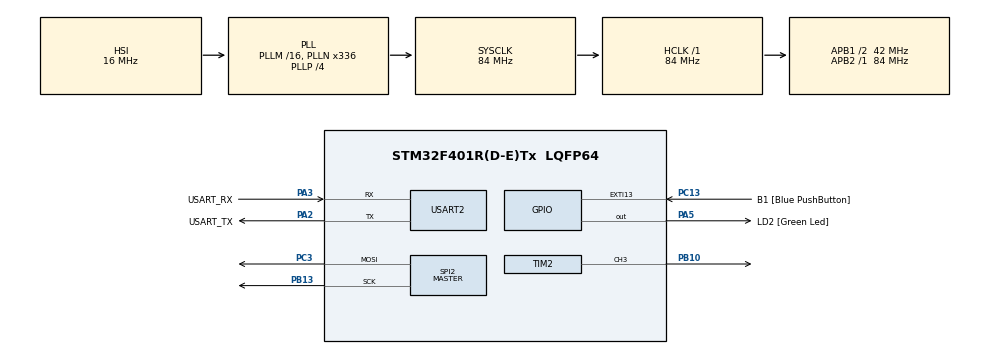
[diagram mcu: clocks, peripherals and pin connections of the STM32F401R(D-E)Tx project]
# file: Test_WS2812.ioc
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Dma.Request0=TIM2_CH3/UP
Dma.Request1=SPI2_TX
Dma.SPI2_TX.1.Direction=DMA_MEMORY_TO_PERIPH
Dma.SPI2_TX.1.FIFOMode=DMA_FIFOMODE_DISABLE
Dma.SPI2_TX.1.Instance=DMA1_Stream4
Dma.SPI2_TX.1.MemDataAlignment=DMA_MDATAALIGN_BYTE
Dma.SPI2_TX.1.MemInc=DMA_MINC_ENABLE
Dma.SPI2_TX.1.Mode=DMA_NORMAL
Dma.SPI2_TX.1.PeriphDataAlignment=DMA_PDATAALIGN_BYTE
Dma.SPI2_TX.1.PeriphInc=DMA_PINC_DISABLE
Dma.SPI2_TX.1.Priority=DMA_PRIORITY_VERY_HIGH
Dma.TIM2_CH3/UP.0.Direction=DMA_MEMORY_TO_PERIPH
Dma.TIM2_CH3/UP.0.FIFOMode=DMA_FIFOMODE_DISABLE
Dma.TIM2_CH3/UP.0.Instance=DMA1_Stream1
Dma.TIM2_CH3/UP.0.MemDataAlignment=DMA_MDATAALIGN_WORD
Dma.TIM2_CH3/UP.0.MemInc=DMA_MINC_ENABLE
Dma.TIM2_CH3/UP.0.Mode=DMA_NORMAL
Dma.TIM2_CH3/UP.0.PeriphDataAlignment=DMA_PDATAALIGN_WORD
Dma.TIM2_CH3/UP.0.PeriphInc=DMA_PINC_DISABLE
Dma.TIM2_CH3/UP.0.Priority=DMA_PRIORITY_VERY_HIGH
Mcu.Family=STM32F4
Mcu.Name=STM32F401R(D-E)Tx
Mcu.Package=LQFP64
NVIC.DMA1_Stream1_IRQn=true\:0\:0\:false\:false\:true\:false\:true\:true
NVIC.DMA1_Stream4_IRQn=true\:0\:0\:false\:false\:true\:false\:true\:true
NVIC.PriorityGroup=NVIC_PRIORITYGROUP_0
NVIC.SPI2_IRQn=true\:0\:0\:false\:false\:true\:true\:true\:true
PA13.GPIO_Label=TMS
PA13.Mode=Serial_Wire
PA13.Signal=SYS_JTMS-SWDIO
PA14.GPIO_Label=TCK
PA14.Mode=Serial_Wire
PA14.Signal=SYS_JTCK-SWCLK
PA15.Signal=S_TIM2_CH1_ETR
PA2.GPIO_Label=USART_TX
PA2.GPIO_Mode=GPIO_MODE_AF_PP
PA2.GPIO_PuPd=GPIO_NOPULL
PA2.GPIO_Speed=GPIO_SPEED_FREQ_LOW
PA2.Mode=Asynchronous
PA2.Signal=USART2_TX
PA3.GPIO_Label=USART_RX
PA3.GPIO_Mode=GPIO_MODE_AF_PP
PA3.GPIO_PuPd=GPIO_NOPULL
PA3.GPIO_Speed=GPIO_SPEED_FREQ_LOW
PA3.Mode=Asynchronous
PA3.Signal=USART2_RX
PA5.GPIO_Label=LD2 [Green Led]
PA5.GPIO_Mode=GPIO_MODE_OUTPUT_PP
PA5.GPIO_PuPd=GPIO_NOPULL
PA5.GPIO_Speed=GPIO_SPEED_FREQ_LOW
PA5.Signal=GPIO_Output
PB10.Signal=S_TIM2_CH3
PB13.Mode=TX_Only_Simplex_Unidirect_Master
PB13.Signal=SPI2_SCK
PB3.GPIO_Label=SWO
PB3.Signal=SYS_JTDO-SWO
PC13-ANTI_TAMP.GPIO_Label=B1 [Blue PushButton]
PC13-ANTI_TAMP.GPIO_ModeDefaultEXTI=GPIO_MODE_IT_FALLING
PC13-ANTI_TAMP.GPIO_PuPd=GPIO_NOPULL
PC13-ANTI_TAMP.Signal=GPXTI13
PC14-OSC32_IN.Mode=LSE-External-Oscillator
PC14-OSC32_IN.Signal=RCC_OSC32_IN
PC15-OSC32_OUT.Mode=LSE-External-Oscillator
PC15-OSC32_OUT.Signal=RCC_OSC32_OUT
PC3.Mode=TX_Only_Simplex_Unidirect_Master
PC3.Signal=SPI2_MOSI
PH0\ -\ OSC_IN.Mode=HSE-External-Oscillator
PH0\ -\ OSC_IN.Signal=RCC_OSC_IN
PH1\ -\ OSC_OUT.Mode=HSE-External-Oscillator
PH1\ -\ OSC_OUT.Signal=RCC_OSC_OUT
ProjectManager.HeapSize=0x200
ProjectManager.StackSize=0x400
ProjectManager.TargetToolchain=STM32CubeIDE
RCC.48MHZClocksFreq_Value=48000000
RCC.AHBFreq_Value=84000000
RCC.APB1CLKDivider=RCC_HCLK_DIV2
RCC.APB1Freq_Value=42000000
RCC.APB1TimFreq_Value=84000000
RCC.APB2Freq_Value=84000000
RCC.APB2TimFreq_Value=84000000
RCC.CortexFreq_Value=84000000
RCC.HCLKFreq_Value=84000000
RCC.HSE_VALUE=8000000
RCC.HSI_VALUE=16000000
RCC.PLLN=336
RCC.PLLP=RCC_PLLP_DIV4
RCC.PLLQ=7
RCC.SYSCLKFreq_VALUE=84000000
RCC.SYSCLKSource=RCC_SYSCLKSOURCE_PLLCLK
RCC.VCOOutputFreq_Value=336000000
SH.S_TIM2_CH1_ETR.0=TIM2_CH1
SH.S_TIM2_CH3.0=TIM2_CH3,PWM Generation3 CH3
SPI2.BaudRatePrescaler=SPI_BAUDRATEPRESCALER_16
SPI2.Direction=SPI_DIRECTION_2LINES
SPI2.Mode=SPI_MODE_MASTER
SPI2.VirtualType=VM_MASTER
TIM2.Channel-PWM\ Generation3\ CH3=TIM_CHANNEL_3
TIM2.Period=100
USART2.VirtualMode=VM_ASYNC
VP_TIM2_VS_ClockSourceINT.Mode=Internal
VP_TIM3_VS_ClockSourceINT.Mode=Internal
board=NUCLEO-F401RE

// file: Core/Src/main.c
/* USER CODE BEGIN Header */
/**
  ******************************************************************************
  * @file           : main.c
  * @brief          : Main program body
  ******************************************************************************
  * @attention
  *
  * Copyright (c) 2023 STMicroelectronics.
  * All rights reserved.
  *
  * This software is licensed under terms that can be found in the LICENSE file
  * in the root directory of this software component.
  * If no LICENSE file comes with this software, it is provided AS-IS.
  *
  ******************************************************************************
  */
/* USER CODE END Header */
#include "main.h"

/* USER CODE BEGIN Includes */
#include "ws2812_SPI.h"
#include "maze.h"
#include "numbers.h"
#include "prng.h"
#include "lookup_table.h"
/* USER CODE END Includes */

/* USER CODE BEGIN PD */
#define NUM_COLORS 18 // 16 pkg colors + black + wall
#define ANIMATION_DELAY_MS 30 // time in ms an animation should take

#define MAZE_WIDTH (WS2812_NUM_LEDS_X - 1)
#define MAZE_HEIGHT (WS2812_NUM_LEDS_Y - 1)

/// BEGIN MERGE TO PRODUCTION ///
// do-while(0) is a common trick to make a macro behave like a function
#define FIND_INDEX(array, size, element, result) \
do { \
    uint16_t found = 0; \
    for (uint16_t i = 0; i < size; ++i) { \
        if (array[i] == element) { \
            result = i; \
            found = 1; \
            break; \
        } \
    } \
    if (!found) result = -1; \
} while (0)
/// END MERGE TO PRODUCTION ///
/* USER CODE END PD */

SPI_HandleTypeDef hspi2;
DMA_HandleTypeDef hdma_spi2_tx;

TIM_HandleTypeDef htim2;
TIM_HandleTypeDef htim3;
DMA_HandleTypeDef hdma_tim2_ch3_up;

UART_HandleTypeDef huart2;

/* USER CODE BEGIN PV */
enum
{
  C_BLACK,                              // do not change
  C_WHITE, C_RED, C_GREEN, C_BLUE,      // do not change
  C_CYAN, C_MAGENTA, C_YELLOW, C_BROWN, // do not change
  C_LIME, C_OLIVE, C_ORANGE, C_PINK,    // do not change
  C_PURPLE, C_TEAL, C_VIOLET, C_MAUVE,  // do not change
  C_WALL                                // add more colors as you see fit
};
/* USER CODE END PV */

void SystemClock_Config(void);
static void MX_GPIO_Init(void);
static void MX_DMA_Init(void);
static void MX_USART2_UART_Init(void);
static void MX_TIM2_Init(void);
static void MX_TIM3_Init(void);
static void MX_SPI2_Init(void);

/* USER CODE BEGIN 0 */
/// BEGIN MERGE TO PRODUCTION ///
void animateSend(void) {
	uint8_t i = 0;

	// find index of Lager, where packageId is stored
    FIND_INDEX(Lager, LAGER_SIZE, packageId, i);

	// skip any but first function call and if FIND_INDEX was unsuccesfull
	if (i < 0 || i >= LAGER_SIZE) return;

	// blink corresponding LED once
    pixels[i+1] = color[C_BLACK];
	writeLEDs(pixels);
	HAL_Delay(BLINK_TIME);
    pixels[LAGER_SIZE+1] = color[packageId];
	writeLEDs(pixels);
	HAL_Delay(BLINK_TIME);
    pixels[LAGER_SIZE+1] = color[C_BLACK];
	writeLEDs(pixels);

    // TODO: maze stuff
}

void animateReceive(void) {
	uint8_t i = 0;

	// find index of tempLager, where packageId is stored
    FIND_INDEX(tempLager, LAGER_SIZE, packageId, i);

	// skip any but first function call and if FIND_INDEX was unsuccesfull
	if (i < 0 || i >= LAGER_SIZE) return;

	// blink corresponding LED once
    pixels[0] = color[packageId];
	writeLEDs(pixels);
	HAL_Delay(BLINK_TIME);
    pixels[0] = color[C_BLACK];
	writeLEDs(pixels);
	HAL_Delay(BLINK_TIME);
    pixels[i+1] = color[packageId];
	writeLEDs(pixels);

    // TODO: maze stuff
}

void animateCreate(void) {
	uint8_t i = 0;

	// find index of tempLager, where packageId is stored
    FIND_INDEX(tempLager, LAGER_SIZE, packageId, i);

	// skip any but first function call and if FIND_INDEX was unsuccesfull
	if (i < 0 || i >= LAGER_SIZE) return;

	// blink corresponding LED once
    pixels[i+1] = color[packageId];
	writeLEDs(pixels);
	HAL_Delay(BLINK_TIME);
    pixels[i+1] = color[C_BLACK];
	writeLEDs(pixels);
	HAL_Delay(BLINK_TIME);
    pixels[i+1] = color[packageId];
	writeLEDs(pixels);
}
void animateDeliver(void) {
	uint8_t i = 0;

	// find index of Lager, where packageId is stored
    FIND_INDEX(Lager, LAGER_SIZE, packageId, i);

	// skip any but first function call and if FIND_INDEX was unsuccesfull
	if (i < 0 || i >= LAGER_SIZE) return;

	// blink corresponding LED once
    pixels[i+1] = color[C_BLACK];
	writeLEDs(pixels);
	HAL_Delay(BLINK_TIME);
    pixels[i+1] = color[packageId];
	writeLEDs(pixels);
	HAL_Delay(BLINK_TIME);
    pixels[i+1] = color[C_BLACK];
	writeLEDs(pixels);
}
/// END MERGE TO PRODUCTION ///
/* USER CODE END 0 */

int main(void)
{
  /* USER CODE BEGIN 1 */

  ColorRGB_t color[NUM_COLORS] = {
  /* B    R    G   */
    {0,   0,   0  }, // C_BLACK
    {255, 255, 255}, // C_WHITE
    {0,   255, 0  }, // C_RED
    {0,   0,   255}, // C_GREEN
    {255, 0,   0  }, // C_BLUE
    {255, 0,   255}, // C_CYAN
    {255, 255, 0  }, // C_MAGENTA
    {0,   255, 255}, // C_YELLOW
    {64,  191, 128}, // C_BROWN
    {0,   191, 255}, // C_LIME
    {0,   128, 128}, // C_OLIVE
    {0,   255, 128}, // C_ORANGE
    {191, 255, 191}, // C_PINK
    {64,  191, 0  }, // C_PURPLE
    {128, 0,   128}, // C_TEAL
    {128, 128, 0  }, // C_VIOLET
    {128, 128, 0  }, // C_MAUVE
    {4,   4,   4  }  // C_WALL
  };
  ColorRGB_t darkColor[NUM_COLORS] = {
  /*  B    R    G  */
  {  0,   0,   0 }, // C_BLACK
  { 16,  16,  16 }, // C_WHITE
  {  0,  16,   0 }, // C_RED
  {  0,   0,  16 }, // C_GREEN
  { 16,   0,   0 }, // C_BLUE
  { 16,   0,  16 }, // C_CYAN
  { 16,  16,   0 }, // C_MAGENTA
  {  0,  16,  16 }, // C_YELLOW
  {  4,  12,   8 }, // C_BROWN
  {  0,  12,  16 }, // C_LIME
  {  0,   8,   8 }, // C_OLIVE
  {  0,  16,   8 }, // C_ORANGE
  { 12,  16,  12 }, // C_PINK
  {  4,  12,   0 }, // C_PURPLE
  {  8,   0,   8 }, // C_TEAL
  {  8,   8,   0 }, // C_VIOLET
  {  8,   8,   0 }, // C_MAUVE
  {  1,   1,   1 }  // C_WALL
};
  //ColorRGB_t* pixel[WS2812_NUM_LEDS_Y][WS2812_NUM_LEDS_X] = {0}; // fill with &color[C_COLOR]

  /* maze vars */
  uint8_t startX = 1;
  uint8_t startY = 0;
  uint8_t exitX = MAZE_WIDTH - 2;
  uint8_t exitY = MAZE_HEIGHT - 1;

  uint8_t packageID = 0;

  uint16_t i = 0, x = 0, y = 0; // index variables
  /* USER CODE END 1 */

  /* MCU Configuration--------------------------------------------------------*/

  /* Reset of all peripherals, Initializes the Flash interface and the Systick. */
  HAL_Init();

  /* Configure the system clock */
  SystemClock_Config();

  /* USER CODE BEGIN SysInit */
  SystemInit();
  /* USER CODE END SysInit */

  /* Initialize all configured peripherals */
  MX_GPIO_Init();
  MX_DMA_Init();
  MX_USART2_UART_Init();
  MX_TIM2_Init();
  MX_TIM3_Init();
  MX_SPI2_Init();
  /* USER CODE BEGIN 2 */
  ws2812_init();
  initMaze(&maze, MAZE_HEIGHT, MAZE_WIDTH, startX, startY, exitX, exitY);
  initPath(&path, MAZE_WIDTH * MAZE_HEIGHT);
  initPRNG(&rng, numbers, SIZE_NUMBERS);
  initLookupTable(&lookupTable, WS2812_NUM_LEDS_Y, WS2812_NUM_LEDS_X);
  /* USER CODE END 2 */

  /* Infinite loop */
  while (1)
  {
    /* USER CODE BEGIN 3 */
	/* reset panel to black */
	ws2812_pixel_all(&color[C_BLACK]);

	/* set start and end point */
    startX++;
    if (startX == MAZE_WIDTH - 1) startX = 1;
    exitX--;
    if (exitX == 0) exitX = MAZE_WIDTH - 2;

    /* set package color */
    packageID = C_GREEN;

	/* set new start and exit */
    maze.start.x = startX; maze.start.y = startY;
    maze.exit.x = exitX; maze.exit.y = exitY;

	/* generate and solve maze */
	generateMaze(&maze);
	solveMaze(&maze, &path);

	/* write maze */
	for (x = 0; x < MAZE_WIDTH; x++)
	{
	  for (y = 0; y < MAZE_HEIGHT; y++)
	  {
	    if (maze.grid[y][x] == WALL) ws2812_pixel(x, y, &color[C_WALL]);
	  }
	}

	/* write solution */
	for (i = path.size - 1; i >= 1; i--)
	{
      // HOTFIX: write start point at first iteration since it missing in path
      if (i == path.size - 1)
      {
        ws2812_pixel(startX, startY, &color[packageID]);
        HAL_Delay(ANIMATION_DELAY_MS);
        ws2812_pixel(startX, startY, &darkColor[packageID]);
      }
      if (path.p[i].x != 0 && path.p[i].y != 0)
      {
        ws2812_pixel(path.p[i].x, path.p[i].y, &color[packageID]); // TODO: start point is not in path
        HAL_Delay(ANIMATION_DELAY_MS);
        ws2812_pixel(path.p[i].x, path.p[i].y, &darkColor[packageID]);
      }
	}

    HAL_Delay(5*ANIMATION_DELAY_MS);

    /* reset */
    resetMaze(&maze, startX, startY, exitX, exitY);
    resetPath(&path);
  }
  /* USER CODE END 3 */
}

void SystemClock_Config(void)
{
  RCC_OscInitTypeDef RCC_OscInitStruct = {0};
  RCC_ClkInitTypeDef RCC_ClkInitStruct = {0};

  /** Configure the main internal regulator output voltage
  */
  __HAL_RCC_PWR_CLK_ENABLE();
  __HAL_PWR_VOLTAGESCALING_CONFIG(PWR_REGULATOR_VOLTAGE_SCALE2);

  /** Initializes the RCC Oscillators according to the specified parameters
  * in the RCC_OscInitTypeDef structure.
  */
  RCC_OscInitStruct.OscillatorType = RCC_OSCILLATORTYPE_HSI;
  RCC_OscInitStruct.HSIState = RCC_HSI_ON;
  RCC_OscInitStruct.HSICalibrationValue = RCC_HSICALIBRATION_DEFAULT;
  RCC_OscInitStruct.PLL.PLLState = RCC_PLL_ON;
  RCC_OscInitStruct.PLL.PLLSource = RCC_PLLSOURCE_HSI;
  RCC_OscInitStruct.PLL.PLLM = 16;
  RCC_OscInitStruct.PLL.PLLN = 336;
  RCC_OscInitStruct.PLL.PLLP = RCC_PLLP_DIV4;
  RCC_OscInitStruct.PLL.PLLQ = 7;
  if (HAL_RCC_OscConfig(&RCC_OscInitStruct) != HAL_OK)
  {
    Error_Handler();
  }

  /** Initializes the CPU, AHB and APB buses clocks
  */
  RCC_ClkInitStruct.ClockType = RCC_CLOCKTYPE_HCLK|RCC_CLOCKTYPE_SYSCLK
                              |RCC_CLOCKTYPE_PCLK1|RCC_CLOCKTYPE_PCLK2;
  RCC_ClkInitStruct.SYSCLKSource = RCC_SYSCLKSOURCE_PLLCLK;
  RCC_ClkInitStruct.AHBCLKDivider = RCC_SYSCLK_DIV1;
  RCC_ClkInitStruct.APB1CLKDivider = RCC_HCLK_DIV2;
  RCC_ClkInitStruct.APB2CLKDivider = RCC_HCLK_DIV1;

  if (HAL_RCC_ClockConfig(&RCC_ClkInitStruct, FLASH_LATENCY_2) != HAL_OK)
  {
    Error_Handler();
  }
}

static void MX_SPI2_Init(void)
{

  /* SPI2 parameter configuration*/
  hspi2.Instance = SPI2;
  hspi2.Init.Mode = SPI_MODE_MASTER;
  hspi2.Init.Direction = SPI_DIRECTION_2LINES;
  hspi2.Init.DataSize = SPI_DATASIZE_8BIT;
  hspi2.Init.CLKPolarity = SPI_POLARITY_LOW;
  hspi2.Init.CLKPhase = SPI_PHASE_1EDGE;
  hspi2.Init.NSS = SPI_NSS_SOFT;
  hspi2.Init.BaudRatePrescaler = SPI_BAUDRATEPRESCALER_16;
  hspi2.Init.FirstBit = SPI_FIRSTBIT_MSB;
  hspi2.Init.TIMode = SPI_TIMODE_DISABLE;
  hspi2.Init.CRCCalculation = SPI_CRCCALCULATION_DISABLE;
  hspi2.Init.CRCPolynomial = 10;
  if (HAL_SPI_Init(&hspi2) != HAL_OK)
  {
    Error_Handler();
  }

}

static void MX_TIM2_Init(void)
{

  TIM_ClockConfigTypeDef sClockSourceConfig = {0};
  TIM_MasterConfigTypeDef sMasterConfig = {0};
  TIM_OC_InitTypeDef sConfigOC = {0};

  htim2.Instance = TIM2;
  htim2.Init.Prescaler = 0;
  htim2.Init.CounterMode = TIM_COUNTERMODE_UP;
  htim2.Init.Period = 100;
  htim2.Init.ClockDivision = TIM_CLOCKDIVISION_DIV1;
  htim2.Init.AutoReloadPreload = TIM_AUTORELOAD_PRELOAD_DISABLE;
  if (HAL_TIM_Base_Init(&htim2) != HAL_OK)
  {
    Error_Handler();
  }
  sClockSourceConfig.ClockSource = TIM_CLOCKSOURCE_INTERNAL;
  if (HAL_TIM_ConfigClockSource(&htim2, &sClockSourceConfig) != HAL_OK)
  {
    Error_Handler();
  }
  if (HAL_TIM_PWM_Init(&htim2) != HAL_OK)
  {
    Error_Handler();
  }
  sMasterConfig.MasterOutputTrigger = TIM_TRGO_RESET;
  sMasterConfig.MasterSlaveMode = TIM_MASTERSLAVEMODE_DISABLE;
  if (HAL_TIMEx_MasterConfigSynchronization(&htim2, &sMasterConfig) != HAL_OK)
  {
    Error_Handler();
  }
  sConfigOC.OCMode = TIM_OCMODE_PWM1;
  sConfigOC.Pulse = 0;
  sConfigOC.OCPolarity = TIM_OCPOLARITY_HIGH;
  sConfigOC.OCFastMode = TIM_OCFAST_DISABLE;
  if (HAL_TIM_PWM_ConfigChannel(&htim2, &sConfigOC, TIM_CHANNEL_3) != HAL_OK)
  {
    Error_Handler();
  }
  HAL_TIM_MspPostInit(&htim2);

}

static void MX_TIM3_Init(void)
{

  TIM_ClockConfigTypeDef sClockSourceConfig = {0};
  TIM_MasterConfigTypeDef sMasterConfig = {0};

  htim3.Instance = TIM3;
  htim3.Init.Prescaler = 0;
  htim3.Init.CounterMode = TIM_COUNTERMODE_UP;
  htim3.Init.Period = 65535;
  htim3.Init.ClockDivision = TIM_CLOCKDIVISION_DIV1;
  htim3.Init.AutoReloadPreload = TIM_AUTORELOAD_PRELOAD_DISABLE;
  if (HAL_TIM_Base_Init(&htim3) != HAL_OK)
  {
    Error_Handler();
  }
  sClockSourceConfig.ClockSource = TIM_CLOCKSOURCE_INTERNAL;
  if (HAL_TIM_ConfigClockSource(&htim3, &sClockSourceConfig) != HAL_OK)
  {
    Error_Handler();
  }
  sMasterConfig.MasterOutputTrigger = TIM_TRGO_RESET;
  sMasterConfig.MasterSlaveMode = TIM_MASTERSLAVEMODE_DISABLE;
  if (HAL_TIMEx_MasterConfigSynchronization(&htim3, &sMasterConfig) != HAL_OK)
  {
    Error_Handler();
  }

}

static void MX_USART2_UART_Init(void)
{

  huart2.Instance = USART2;
  huart2.Init.BaudRate = 115200;
  huart2.Init.WordLength = UART_WORDLENGTH_8B;
  huart2.Init.StopBits = UART_STOPBITS_1;
  huart2.Init.Parity = UART_PARITY_NONE;
  huart2.Init.Mode = UART_MODE_TX_RX;
  huart2.Init.HwFlowCtl = UART_HWCONTROL_NONE;
  huart2.Init.OverSampling = UART_OVERSAMPLING_16;
  if (HAL_UART_Init(&huart2) != HAL_OK)
  {
    Error_Handler();
  }

}

static void MX_DMA_Init(void)
{

  /* DMA controller clock enable */
  __HAL_RCC_DMA1_CLK_ENABLE();

  /* DMA interrupt init */
  /* DMA1_Stream1_IRQn interrupt configuration */
  HAL_NVIC_SetPriority(DMA1_Stream1_IRQn, 0, 0);
  HAL_NVIC_EnableIRQ(DMA1_Stream1_IRQn);
  /* DMA1_Stream4_IRQn interrupt configuration */
  HAL_NVIC_SetPriority(DMA1_Stream4_IRQn, 0, 0);
  HAL_NVIC_EnableIRQ(DMA1_Stream4_IRQn);

}

static void MX_GPIO_Init(void)
{
  GPIO_InitTypeDef GPIO_InitStruct = {0};

  /* GPIO Ports Clock Enable */
  __HAL_RCC_GPIOC_CLK_ENABLE();
  __HAL_RCC_GPIOH_CLK_ENABLE();
  __HAL_RCC_GPIOA_CLK_ENABLE();
  __HAL_RCC_GPIOB_CLK_ENABLE();

  /*Configure GPIO pin Output Level */
  HAL_GPIO_WritePin(LD2_GPIO_Port, LD2_Pin, GPIO_PIN_RESET);

  /*Configure GPIO pin : B1_Pin */
  GPIO_InitStruct.Pin = B1_Pin;
  GPIO_InitStruct.Mode = GPIO_MODE_IT_FALLING;
  GPIO_InitStruct.Pull = GPIO_NOPULL;
  HAL_GPIO_Init(B1_GPIO_Port, &GPIO_InitStruct);

  /*Configure GPIO pin : LD2_Pin */
  GPIO_InitStruct.Pin = LD2_Pin;
  GPIO_InitStruct.Mode = GPIO_MODE_OUTPUT_PP;
  GPIO_InitStruct.Pull = GPIO_NOPULL;
  GPIO_InitStruct.Speed = GPIO_SPEED_FREQ_LOW;
  HAL_GPIO_Init(LD2_GPIO_Port, &GPIO_InitStruct);

}

void Error_Handler(void)
{
  __disable_irq();
  while (1)
  {
  }
}
